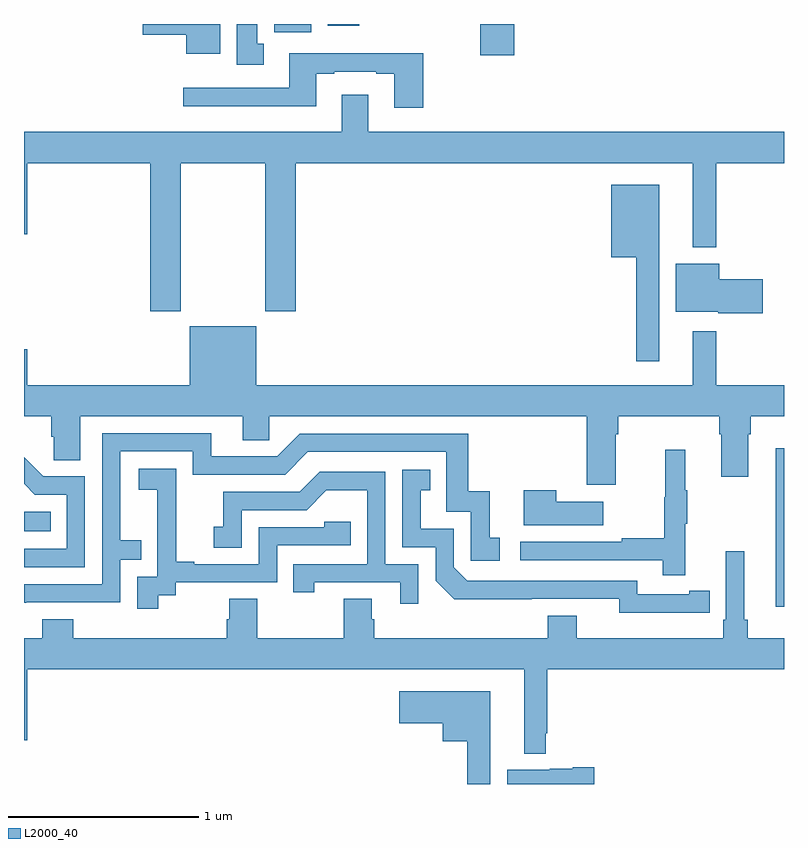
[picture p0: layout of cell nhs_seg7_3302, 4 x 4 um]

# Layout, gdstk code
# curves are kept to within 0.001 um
import gdstk
lib = gdstk.Library(unit=1e-6, precision=1e-09)
def R(c, l, rs):  # rectangles x0, y0, x1, y1
    for r in rs: c.add(gdstk.rectangle(r[:2], r[2:], *l))
def P(c, l, *ps):  # polygons
    for p in ps: c.add(gdstk.Polygon(p, *l))
L2000_40 = (2000, 40)

nhs_seg7_3302 = lib.new_cell('nhs_seg7_3302')
R(nhs_seg7_3302, L2000_40, [(324.956,1012.932,325,1013.767), (321,1013.33,321.14,1013.434), (323.401,1015.836,323.579,1016), (322.317,1015.956,322.513,1016), (322.598,1015.992,322.765,1016)])
P(nhs_seg7_3302, L2000_40, [(322.261,1015.897),(322.228,1015.897),(322.228,1016),(322.121,1016),(322.121,1015.785),(322.261,1015.785)],
  [(322.033,1016),(321.624,1016),(321.624,1015.943),(321.854,1015.943),(321.854,1015.844),(322.033,1015.844)],
  [(323.102,1015.846),(322.397,1015.846),(322.397,1015.665),(321.837,1015.665),(321.837,1015.568),(322.537,1015.568),(322.537,1015.737),(322.633,1015.737),(322.633,1015.749),(322.853,1015.749),(322.853,1015.737),(322.949,1015.737),(322.949,1015.56),(323.102,1015.56)],
  [(321,1014.894),(321.016,1014.894),(321.016,1015.268),(321.665,1015.268),(321.665,1014.489),(321.825,1014.489),(321.825,1015.268),(322.27,1015.268),(322.27,1014.489),(322.43,1014.489),(322.43,1015.268),(324.521,1015.268),(324.521,1014.824),(324.643,1014.824),(324.643,1015.268),(325,1015.268),(325,1015.432),(322.813,1015.432),(322.813,1015.627),(322.673,1015.627),(322.673,1015.432),(321,1015.432)],
  [(324.343,1015.153),(324.092,1015.153),(324.092,1014.773),(324.222,1014.773),(324.222,1014.225),(324.343,1014.225)],
  [(324.889,1014.656),(324.658,1014.656),(324.658,1014.739),(324.431,1014.739),(324.431,1014.485),(324.654,1014.485),(324.654,1014.478),(324.889,1014.478)],
  [(324.115,1013.84),(324.128,1013.84),(324.128,1013.936),(324.659,1013.936),(324.659,1013.84),(324.671,1013.84),(324.671,1013.616),(324.811,1013.616),(324.811,1013.84),(324.824,1013.84),(324.824,1013.936),(325,1013.936),(325,1014.1),(324.643,1014.1),(324.643,1014.382),(324.521,1014.382),(324.521,1014.1),(322.222,1014.1),(322.222,1014.409),(321.872,1014.409),(321.872,1014.1),(321.016,1014.1),(321.016,1014.289),(321,1014.289),(321,1013.936),(321.143,1013.936),(321.143,1013.827),(321.156,1013.827),(321.156,1013.704),(321.295,1013.704),(321.295,1013.936),(322.151,1013.936),(322.151,1013.809),(322.29,1013.809),(322.29,1013.936),(323.963,1013.936),(323.963,1013.574),(324.115,1013.574)],
  [(321.011,1012.956),(321.507,1012.956),(321.507,1013.181),(321.617,1013.181),(321.617,1013.282),(321.507,1013.282),(321.507,1013.751),(321.888,1013.751),(321.888,1013.628),(322.374,1013.628),(322.494,1013.748),(323.223,1013.748),(323.223,1013.433),(323.352,1013.433),(323.352,1013.175),(323.503,1013.175),(323.503,1013.295),(323.45,1013.295),(323.45,1013.542),(323.339,1013.542),(323.339,1013.844),(322.452,1013.844),(322.332,1013.724),(321.985,1013.724),(321.985,1013.847),(321.411,1013.847),(321.411,1013.052),(321,1013.052),(321,1012.955)],
  [(324.479,1013.371),(324.49,1013.371),(324.49,1013.545),(324.479,1013.545),(324.479,1013.758),(324.376,1013.758),(324.376,1013.508),(324.369,1013.508),(324.369,1013.294),(324.145,1013.294),(324.145,1013.274),(323.613,1013.274),(323.613,1013.178),(324.361,1013.178),(324.361,1013.1),(324.479,1013.1)],
  [(321.321,1013.619),(321.102,1013.619),(321,1013.721),(321,1013.579),(321.056,1013.523),(321.225,1013.523),(321.225,1013.238),(321,1013.238),(321,1013.142),(321.321,1013.142)],
  [(321.706,1012.993),(321.798,1012.993),(321.798,1013.061),(322.332,1013.061),(322.332,1013.256),(322.721,1013.256),(322.721,1013.379),(322.581,1013.379),(322.581,1013.352),(322.236,1013.352),(322.236,1013.157),(321.895,1013.157),(321.895,1013.17),(321.8,1013.17),(321.8,1013.453),(321.801,1013.453),(321.801,1013.659),(321.603,1013.659),(321.603,1013.549),(321.701,1013.549),(321.701,1013.321),(321.702,1013.321),(321.702,1013.091),(321.597,1013.091),(321.597,1012.923),(321.706,1012.923)],
  [(324.5,1012.902),(324.608,1012.902),(324.608,1013.018),(324.5,1013.018),(324.5,1012.998),(324.228,1012.998),(324.228,1013.07),(323.334,1013.07),(323.262,1013.142),(323.262,1013.343),(323.089,1013.343),(323.089,1013.547),(323.138,1013.547),(323.138,1013.653),(322.992,1013.653),(322.992,1013.247),(323.166,1013.247),(323.166,1013.07),(323.264,1012.973),(324.132,1012.974),(324.132,1012.901)],
  [(323.076,1013.157),(322.902,1013.157),(322.902,1013.643),(322.556,1013.643),(322.451,1013.538),(322.048,1013.538),(322.048,1013.353),(321.999,1013.353),(321.999,1013.244),(322.146,1013.244),(322.146,1013.442),(322.488,1013.442),(322.592,1013.546),(322.806,1013.546),(322.806,1013.157),(322.417,1013.157),(322.417,1013.01),(322.528,1013.01),(322.528,1013.061),(322.979,1013.061),(322.979,1012.95),(323.076,1012.95)],
  [(324.049,1013.485),(323.801,1013.485),(323.801,1013.545),(323.63,1013.545),(323.63,1013.363),(324.049,1013.363)],
  [(323.747,1012.267),(323.755,1012.267),(323.755,1012.604),(325,1012.604),(325,1012.768),(324.809,1012.768),(324.809,1012.864),(324.79,1012.864),(324.79,1013.224),(324.693,1013.224),(324.693,1012.864),(324.68,1012.864),(324.68,1012.768),(323.908,1012.768),(323.908,1012.885),(323.756,1012.885),(323.756,1012.768),(322.844,1012.768),(322.844,1012.866),(322.831,1012.866),(322.831,1012.976),(322.684,1012.976),(322.684,1012.768),(322.227,1012.768),(322.227,1012.976),(322.079,1012.976),(322.079,1012.866),(322.067,1012.866),(322.067,1012.768),(321.26,1012.768),(321.26,1012.867),(321.095,1012.867),(321.095,1012.768),(321,1012.768),(321,1012.23),(321.016,1012.23),(321.016,1012.604),(323.633,1012.604),(323.633,1012.16),(323.747,1012.16)],
  [(323.455,1012.489),(322.974,1012.489),(322.974,1012.319),(323.204,1012.319),(323.204,1012.226),(323.334,1012.226),(323.334,1012),(323.455,1012)],
  [(324.001,1012.088),(323.888,1012.088),(323.888,1012.081),(323.766,1012.081),(323.766,1012.075),(323.543,1012.075),(323.543,1012),(324.001,1012)])

lib.write_gds('nhs_seg7_3302.gds')
